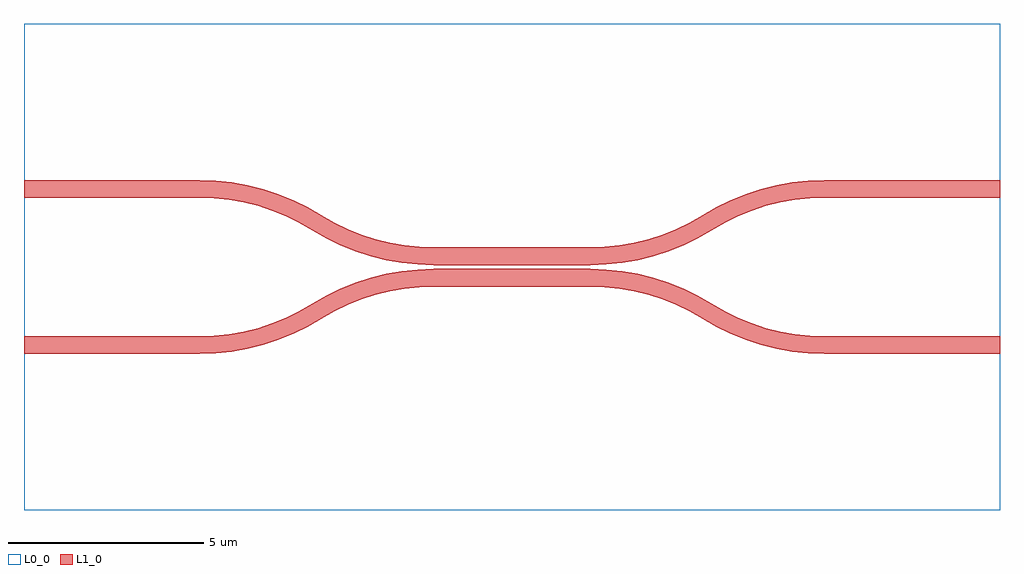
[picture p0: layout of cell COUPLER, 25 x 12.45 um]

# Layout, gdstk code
import gdstk
lib = gdstk.Library(unit=1e-6, precision=1e-09)
def R(c, l, rs):  # rectangles x0, y0, x1, y1
    for r in rs: c.add(gdstk.rectangle(r[:2], r[2:], *l))
L0_0 = (0, 0)
L1_0 = (1, 0)

coupler_arm = lib.new_cell('COUPLER_ARM')
coupler_arm.add(gdstk.FlexPath([(-12.5,2),(-11.375,2),(-10.25,2),(-9.125,2),(-8,2),(-7.605,1.986),(-7.212,1.945),(-6.823,1.876),(-6.439,1.78),(-6.063,1.658),(-5.697,1.509),(-5.342,1.336),(-5,1.137),(-4.658,0.939),(-4.303,0.766),(-3.937,0.617),(-3.561,0.495),(-3.177,0.399),(-2.788,0.33),(-2.395,0.289),(-2,0.275),(-1,0.275),(0,0.275),(1,0.275),(2,0.275),(2.395,0.289),(2.788,0.33),(3.177,0.399),(3.561,0.495),(3.937,0.617),(4.303,0.766),(4.658,0.939),(5,1.137),(5.342,1.336),(5.697,1.509),(6.063,1.658),(6.439,1.78),(6.823,1.876),(7.212,1.945),(7.605,1.986),(8,2),(9.125,2),(10.25,2),(11.375,2),(12.5,2)], 0.45, ends="flush", simple_path=True, layer=1, datatype=0))  # L1_0

coupler = lib.new_cell('COUPLER')
R(coupler, L0_0, [(-12.5,-6.225,12.5,6.225)])
coupler.add(gdstk.Reference(coupler_arm, (0,0)))
coupler.add(gdstk.Reference(coupler_arm, (0,0), x_reflection=True))

lib.write_gds('COUPLER.gds')
